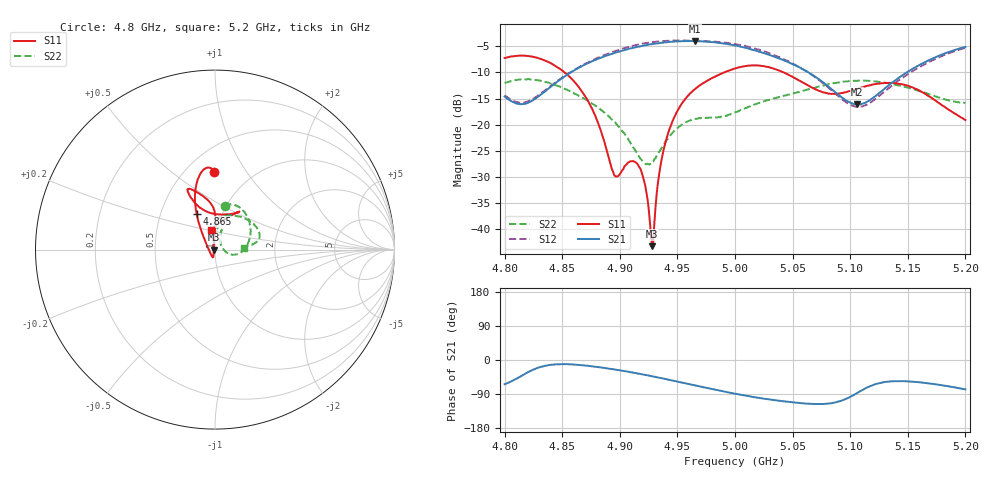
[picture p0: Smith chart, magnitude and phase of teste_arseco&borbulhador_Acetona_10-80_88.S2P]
! Network Analyzer HP8722D
! Hewlett-Packard
! Data name: Linha & Wilkinson
! Saver's name: Rodrigo Anjos
! Comments: Teste da utilização de aquisição
! continua pelo VNA HP8722D
! Time and date: 25/4/2025 16:00
!  Frequency  S11  S21  S12  S22
# HZ  S  MA R 50
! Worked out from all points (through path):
!   401 points, 4.8 GHz to 5.2 GHz, reference 50 ohm
!   highest |S21| = -3.96 dB at 4.965 GHz (marker M1); lowest = -16.1 dB at 5.106 GHz (marker M2)
!   lowest |S11| = -43.3 dB at 4.928 GHz (marker M3), VSWR 1.01, Z = 49.3 - j0.0557 ohm
!   |S11| at or under -10 dB: 4.852 GHz to 4.991 GHz (138.5 MHz wide, 2.81 % of centre); 5.042 GHz to end of sweep
!   |S22| runs from -27.6 to -11.3 dB; largest |S21 - S12| = 1.2
!   S11 on the Smith chart (normalised r, x): 4.8 GHz: 0.68, +0.72; 4.865 GHz: 0.76, +0.32; 5.2 GHz: 0.94, +0.21
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4.8e9  0.4349 90.7  0.186 -63.8  0.1912 69.7  0.2501 77.6
4.82e9  0.4541 96.9  0.1613 -32.6  0.1668 98.2  0.2732 61.9
4.845e9  0.3606 107.4  0.2543 -11.4  0.2584 119.4  0.2377 34.6
4.865e9  0.2243 117.1  0.3537 -13.0  0.3573 120.9  0.1878 11.0
4.867e9  0.2089 118.3  0.3631 -13.9  0.3672 120.7  0.1828 8.8
4.88e9  0.1119 128.5  0.4222 -18.4  0.4331 118.3  0.1488 -5.1
4.896e9  0.0321 -166.1  0.4885 -25.3  0.5068 113.3  0.105 -16.0
4.909e9  0.04451 -107.7  0.5364 -32.0  0.5615 107.6  0.06774 -14.3
4.917e9  0.03927 -102.5  0.5599 -36.3  0.5894 103.5  0.04862 -1.2
4.922e9  0.02626 -106.5  0.5753 -39.3  0.6028 100.8  0.04232 16.0
4.928e9  0.006863 -175.3  0.5904 -42.9  0.6164 97.1  0.0443 40.6
4.93e9  0.01138 122.9  0.5952 -44.1  0.6191 95.8  0.04669 47.9
4.934e9  0.03273 100.0  0.6039 -46.8  0.6283 93.2  0.05468 58.0
4.939e9  0.06367 93.1  0.6136 -49.9  0.6339 90.2  0.06662 65.7
4.946e9  0.1095 90.0  0.6233 -54.4  0.6377 85.7  0.08417 70.2
4.965e9  0.2181 91.0  0.6338 -67.0  0.6366 73.6  0.1136 71.5
5e9  0.3458 109.1  0.5725 -88.9  0.5927 50.9  0.1312 88.3
5.03e9  0.3542 115.3  0.4652 -104.1  0.4823 33.8  0.1735 85.4
5.067e9  0.2261 105.2  0.3018 -115.9  0.2986 23.6  0.2222 57.2
5.106e9  0.2198 64.6  0.1562 -87.2  0.1481 55.8  0.2634 24.8
5.134e9  0.2513 57.2  0.2407 -56.8  0.2261 88.7  0.2482 12.5
5.2e9  0.111 100.5  0.5547 -77.4  0.545 70.2  0.1613 3.9
